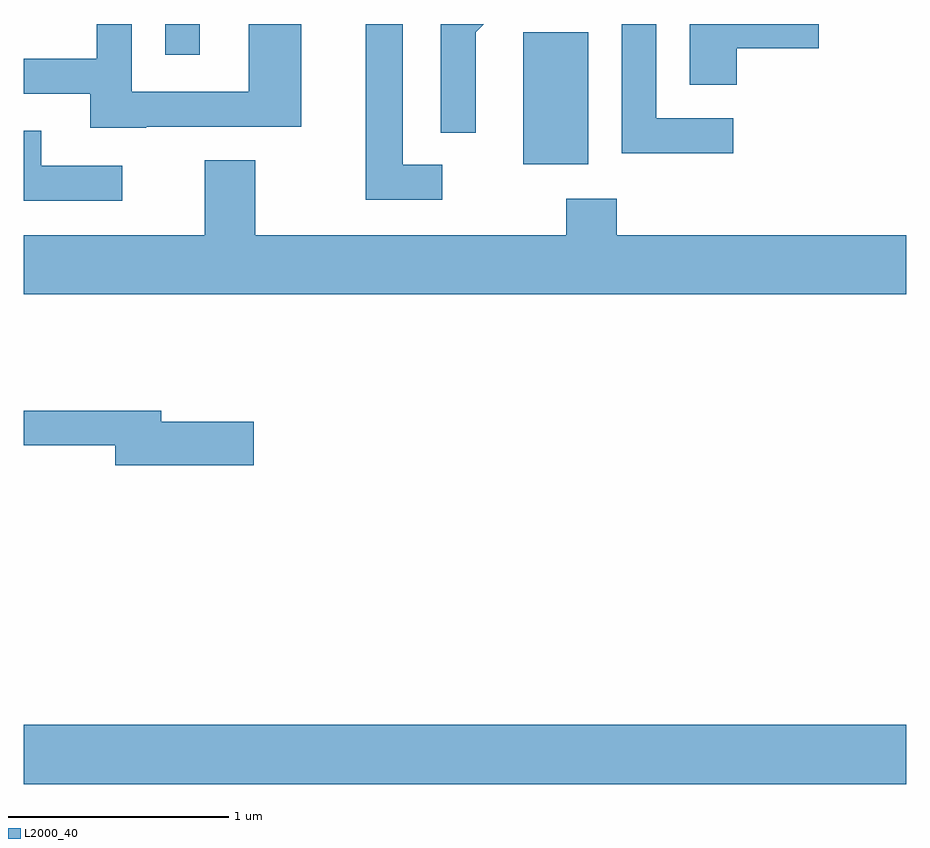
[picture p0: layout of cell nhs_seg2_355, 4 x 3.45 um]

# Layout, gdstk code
import gdstk
lib = gdstk.Library(unit=1e-6, precision=1e-09)
def R(c, l, rs):  # rectangles x0, y0, x1, y1
    for r in rs: c.add(gdstk.rectangle(r[:2], r[2:], *l))
def P(c, l, *ps):  # polygons
    for p in ps: c.add(gdstk.Polygon(p, *l))
L2000_40 = (2000, 40)

nhs_seg2_355 = lib.new_cell('nhs_seg2_355')
R(nhs_seg2_355, L2000_40, [(195.611,1008.356,199.611,1008.624), (197.876,1011.166,198.169,1011.764), (196.251,1011.663,196.409,1011.802)])
P(nhs_seg2_355, L2000_40, [(197.659,1011.764),(197.697,1011.802),(197.501,1011.802),(197.501,1011.308),(197.659,1011.308)],
  [(198.828,1011.374),(198.479,1011.374),(198.479,1011.802),(198.321,1011.802),(198.321,1011.216),(198.828,1011.216)],
  [(196.165,1011.336),(196.869,1011.336),(196.869,1011.802),(196.631,1011.802),(196.631,1011.494),(196.099,1011.494),(196.099,1011.802),(195.941,1011.802),(195.941,1011.644),(195.611,1011.644),(195.611,1011.486),(195.911,1011.486),(195.911,1011.331),(196.165,1011.331)],
  [(197.508,1011.164),(197.329,1011.164),(197.329,1011.802),(197.161,1011.802),(197.161,1011.006),(197.508,1011.006)],
  [(198.844,1011.691),(199.214,1011.691),(199.214,1011.802),(198.631,1011.802),(198.631,1011.526),(198.844,1011.526)],
  [(196.058,1011.159),(195.689,1011.159),(195.689,1011.319),(195.611,1011.319),(195.611,1011.001),(196.058,1011.001)],
  [(199.611,1010.844),(198.299,1010.844),(198.299,1011.009),(198.071,1011.009),(198.071,1010.844),(196.659,1010.844),(196.659,1011.184),(196.431,1011.184),(196.431,1010.844),(195.611,1010.844),(195.611,1010.576),(199.611,1010.576)],
  [(196.654,1009.999),(196.234,1009.999),(196.234,1010.049),(195.611,1010.049),(195.611,1009.891),(196.026,1009.891),(196.026,1009.801),(196.654,1009.801)])

lib.write_gds('nhs_seg2_355.gds')
